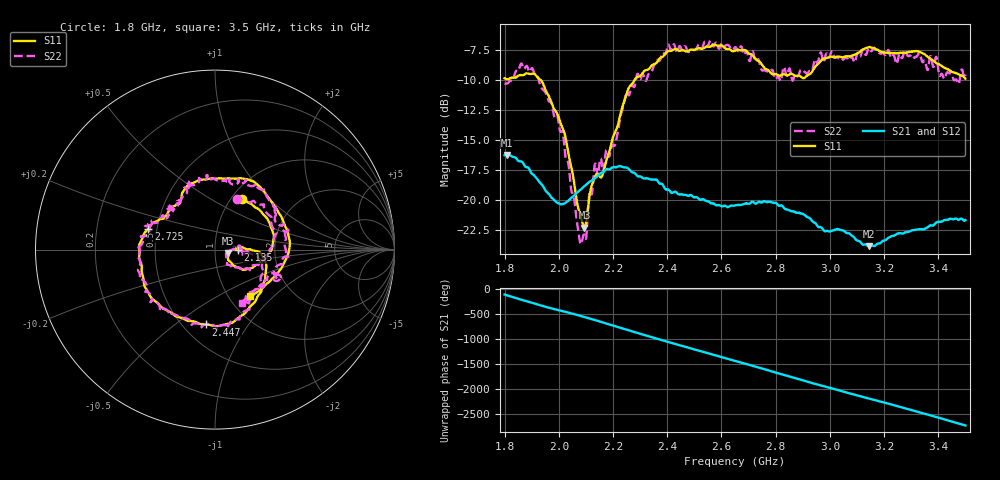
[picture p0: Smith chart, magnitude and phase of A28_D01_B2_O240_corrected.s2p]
! Created with skrf 1.9.0 (http://scikit-rf.org).
# Hz S RI R 50.0
!freq ReS11 ImS11 ReS21 ImS21 ReS12 ImS12 ReS22 ImS22
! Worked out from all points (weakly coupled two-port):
!   1601 points, 1.8 GHz to 3.5 GHz, reference 50 ohm
!   highest |S21| = -16.22 dB at 1.808 GHz (marker M1); lowest = -23.8 dB at 3.144 GHz (marker M2)
!   lowest |S11| = -22.3 dB at 2.094 GHz (marker M3), VSWR 1.17, Z = 58 - j2.34 ohm
!   |S11| at or under -10 dB: 1.934 GHz to 2.279 GHz (344.5 MHz wide, 16.4 % of centre)
!   |S22| runs from -23.7 to -6.7 dB; largest |S21 - S12| = 0.003
!   S11 on the Smith chart (normalised r, x): 1.8 GHz: 1.12, +0.71; 2.135 GHz: 1.29, -0.00; 2.447 GHz: 0.64, -0.65; 2.725 GHz: 0.45, +0.12; 3.5 GHz: 1.26, -0.72
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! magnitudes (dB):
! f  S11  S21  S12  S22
! 1.8 GHz  -9.8  -16.2  -16.2  -10.3
! 1.808 GHz  -9.9  -16.2  -16.2  -10.3
! 1.901 GHz  -9.5  -17.8  -17.7  -9.0
! 1.969 GHz  -11.6  -19.6  -19.7  -11.8
! 2.014 GHz  -14.0  -20.3  -20.3  -14.3
! 2.084 GHz  -21.6  -19.1  -19.0  -23.5
! 2.094 GHz  -22.3  -18.8  -18.9  -22.9
! 2.135 GHz  -18.0  -18.1  -18.1  -16.9
! 2.161 GHz  -17.9  -17.7  -17.6  -17.3
! 2.208 GHz  -14.3  -17.2  -17.2  -15.3
! 2.26 GHz  -10.6  -17.4  -17.4  -11.2
! 2.367 GHz  -8.3  -18.5  -18.4  -8.4
! 2.447 GHz  -7.5  -19.5  -19.5  -7.2
! 2.65 GHz  -7.5  -20.4  -20.4  -7.2
! 2.725 GHz  -8.2  -20.3  -20.3  -8.4
! 2.812 GHz  -9.6  -20.4  -20.4  -9.7
! 2.934 GHz  -9.3  -21.7  -21.7  -9.2
! 3.144 GHz  -7.2  -23.8  -23.7  -7.3
! 3.217 GHz  -7.7  -23.1  -23.1  -7.5
! 3.328 GHz  -7.6  -22.4  -22.4  -7.7
! 3.416 GHz  -8.9  -21.7  -21.7  -9.6
! 3.5 GHz  -9.9  -21.7  -21.7  -9.5
